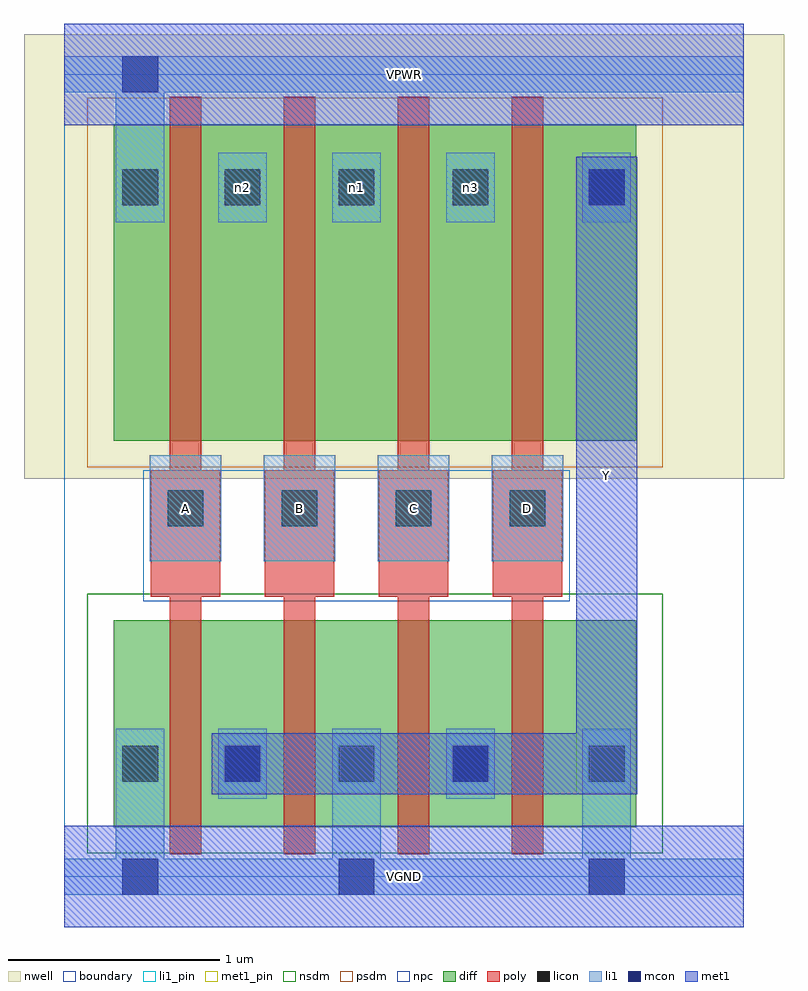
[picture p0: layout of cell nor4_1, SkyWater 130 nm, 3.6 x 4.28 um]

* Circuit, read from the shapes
.subckt nor4_1 A B C D VGND VPWR Y n1 n2 n3
XM1 Y A VGND VSUBS sky130_fd_pr__nfet_01v8 w=0.98 l=0.15
XM2 VGND B Y VSUBS sky130_fd_pr__nfet_01v8 w=0.98 l=0.15
XM3 Y C VGND VSUBS sky130_fd_pr__nfet_01v8 w=0.98 l=0.15
XM4 VGND D Y VSUBS sky130_fd_pr__nfet_01v8 w=0.98 l=0.15
XM5 n2 A VPWR n4 sky130_fd_pr__pfet_01v8 w=1.5 l=0.15
XM6 n1 B n2 n4 sky130_fd_pr__pfet_01v8 w=1.5 l=0.15
XM7 n3 C n1 n4 sky130_fd_pr__pfet_01v8 w=1.5 l=0.15
XM8 Y D n3 n4 sky130_fd_pr__pfet_01v8 w=1.5 l=0.15
.ends

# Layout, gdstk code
import gdstk
lib = gdstk.Library(unit=1e-6, precision=1e-09)
def R(c, l, rs):  # rectangles x0, y0, x1, y1
    for r in rs: c.add(gdstk.rectangle(r[:2], r[2:], *l))
def A(c, l, x, y, w, h, nx, ny, dx, dy):  # array of equal rectangles
    R(c, l, [(x+i*dx, y+j*dy, x+i*dx+w, y+j*dy+h) for i in range(nx) for j in range(ny)])
nwell = (64, 20)
diff = (65, 20)
poly = (66, 20)
licon = (66, 44)
li1_pin = (67, 16)
li1 = (67, 20)
mcon = (67, 44)
met1_pin = (68, 16)
met1 = (68, 20)
nsdm = (93, 44)
psdm = (94, 20)
npc = (95, 20)
boundary = (235, 4)

nor4_1 = lib.new_cell('nor4_1')
R(nor4_1, nwell, [(-0.19,1.885,3.41,3.99), (0,1.885,3.22,3.99)])
R(nor4_1, diff, [(0.235,0.235,2.71,1.215), (0.235,2.065,2.71,3.565)])
A(nor4_1, poly, 0.5, 0.105, 0.15, 3.59, 4, 1, 0.54, 0)
A(nor4_1, poly, 0.41, 1.325, 0.33, 0.6, 4, 1, 0.54, 0)
A(nor4_1, licon, 0.76, 0.45, 0.17, 0.17, 3, 2, 0.54, 2.73)
A(nor4_1, licon, 0.49, 1.66, 0.17, 0.17, 4, 1, 0.54, 0)
R(nor4_1, licon, [(0.275,0.45,0.445,0.62), (2.485,0.45,2.655,0.62), (0.275,3.18,0.445,3.35), (2.485,3.18,2.655,3.35)])
A(nor4_1, li1_pin, 0.405, 1.495, 0.34, 0.5, 4, 1, 0.54, 0)
A(nor4_1, li1, 0.405, 1.495, 0.34, 0.5, 4, 1, 0.54, 0)
A(nor4_1, li1, 0.73, 3.1, 0.23, 0.33, 3, 1, 0.54, 0)
R(nor4_1, li1, [(0,-0.085,3.22,0.085), (0.245,-0.085,0.475,0.7), (1.27,-0.085,1.5,0.7), (2.455,-0.085,2.685,0.7), (0.73,0.37,0.96,0.7), (1.81,0.37,2.04,0.7), (0.245,3.1,0.475,3.885), (2.455,3.1,2.685,3.43), (0,3.715,3.22,3.885)])
R(nor4_1, mcon, [(0.275,-0.085,0.445,0.085), (1.3,-0.085,1.47,0.085), (2.485,-0.085,2.655,0.085), (0.76,0.45,0.93,0.62), (1.84,0.45,2.01,0.62), (2.485,3.18,2.655,3.35), (0.275,3.715,0.445,3.885)])
R(nor4_1, met1_pin, [(0,-0.24,3.22,0.24), (2.425,0.39,2.715,3.41), (0,3.56,3.22,4.04)])
R(nor4_1, met1, [(0,-0.24,3.22,0.24), (0.7,0.39,2.715,0.68), (2.425,0.39,2.715,3.41), (0,3.56,3.22,4.04)])
R(nor4_1, nsdm, [(0.11,0.11,2.835,1.34)])
R(nor4_1, psdm, [(0.11,1.94,2.835,3.69)])
R(nor4_1, npc, [(0.375,1.305,2.395,1.925)])
R(nor4_1, boundary, [(0,0,3.22,3.8)])
nor4_1.add(gdstk.Label('A', (0.575,1.745), layer=67, texttype=5))
nor4_1.add(gdstk.Label('B', (1.115,1.745), layer=67, texttype=5))
nor4_1.add(gdstk.Label('C', (1.655,1.745), layer=67, texttype=5))
nor4_1.add(gdstk.Label('D', (2.195,1.745), layer=67, texttype=5))
nor4_1.add(gdstk.Label('n2', (0.845,3.265), layer=67, texttype=5))
nor4_1.add(gdstk.Label('n1', (1.385,3.265), layer=67, texttype=5))
nor4_1.add(gdstk.Label('n3', (1.925,3.265), layer=67, texttype=5))
nor4_1.add(gdstk.Label('Y', (2.57,1.9), layer=68, texttype=5))
nor4_1.add(gdstk.Label('VPWR', (1.61,3.8), layer=68, texttype=5))
nor4_1.add(gdstk.Label('VGND', (1.61,0), layer=68, texttype=5))
nor4_1.add(gdstk.Label('A', (0.575,1.745), layer=67, texttype=16))
nor4_1.add(gdstk.Label('B', (1.115,1.745), layer=67, texttype=16))
nor4_1.add(gdstk.Label('C', (1.655,1.745), layer=67, texttype=16))
nor4_1.add(gdstk.Label('D', (2.195,1.745), layer=67, texttype=16))
nor4_1.add(gdstk.Label('Y', (2.57,1.9), layer=68, texttype=16))
nor4_1.add(gdstk.Label('VPWR', (1.61,3.8), layer=68, texttype=16))
nor4_1.add(gdstk.Label('VGND', (1.61,0), layer=68, texttype=16))

lib.write_gds('nor4_1.gds')
